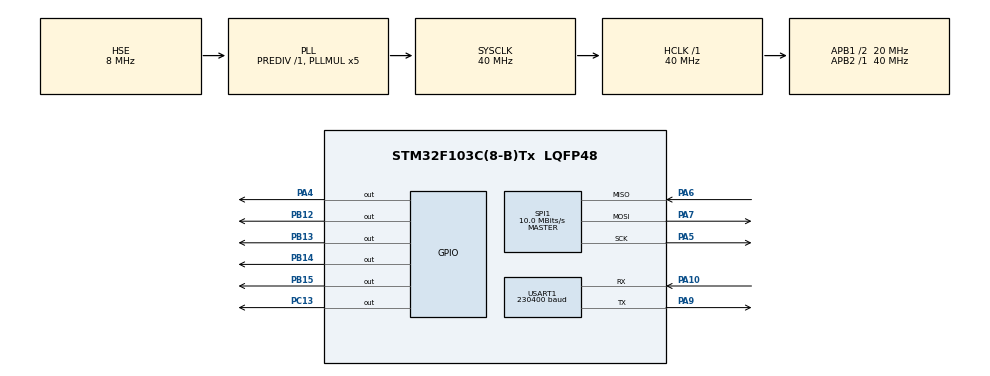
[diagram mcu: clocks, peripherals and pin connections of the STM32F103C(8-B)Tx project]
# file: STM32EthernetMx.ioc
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Mcu.Family=STM32F1
Mcu.Name=STM32F103C(8-B)Tx
Mcu.Package=LQFP48
NVIC.PriorityGroup=NVIC_PRIORITYGROUP_4
NVIC.USART1_IRQn=true\:0\:0\:false\:false\:true\:true\:true
PA10.Mode=Asynchronous
PA10.Signal=USART1_RX
PA13.Mode=Serial_Wire
PA13.Signal=SYS_JTMS-SWDIO
PA14.Mode=Serial_Wire
PA14.Signal=SYS_JTCK-SWCLK
PA4.GPIO_Speed=GPIO_SPEED_FREQ_MEDIUM
PA4.PinState=GPIO_PIN_RESET
PA4.Signal=GPIO_Output
PA5.Mode=Full_Duplex_Master
PA5.Signal=SPI1_SCK
PA6.Mode=Full_Duplex_Master
PA6.Signal=SPI1_MISO
PA7.Mode=Full_Duplex_Master
PA7.Signal=SPI1_MOSI
PA9.Mode=Asynchronous
PA9.Signal=USART1_TX
PB12.GPIO_Speed=GPIO_SPEED_FREQ_MEDIUM
PB12.Signal=GPIO_Output
PB13.GPIO_Speed=GPIO_SPEED_FREQ_MEDIUM
PB13.Signal=GPIO_Output
PB14.GPIO_Speed=GPIO_SPEED_FREQ_MEDIUM
PB14.Signal=GPIO_Output
PB15.GPIO_Speed=GPIO_SPEED_FREQ_MEDIUM
PB15.Signal=GPIO_Output
PC13-TAMPER-RTC.GPIO_Speed=GPIO_SPEED_FREQ_MEDIUM
PC13-TAMPER-RTC.Signal=GPIO_Output
PD0-OSC_IN.Mode=HSE-External-Oscillator
PD0-OSC_IN.Signal=RCC_OSC_IN
PD1-OSC_OUT.Mode=HSE-External-Oscillator
PD1-OSC_OUT.Signal=RCC_OSC_OUT
ProjectManager.HeapSize=0x200
ProjectManager.StackSize=0x400
ProjectManager.TargetToolchain=MDK-ARM V5
RCC.AHBFreq_Value=40000000
RCC.APB1CLKDivider=RCC_HCLK_DIV2
RCC.APB1Freq_Value=20000000
RCC.APB1TimFreq_Value=40000000
RCC.APB2Freq_Value=40000000
RCC.APB2TimFreq_Value=40000000
RCC.HCLKFreq_Value=40000000
RCC.PLLMUL=RCC_PLL_MUL5
RCC.PLLSourceVirtual=RCC_PLLSOURCE_HSE
RCC.SYSCLKFreq_VALUE=40000000
RCC.SYSCLKSource=RCC_SYSCLKSOURCE_PLLCLK
RCC.USBFreq_Value=40000000
SPI1.BaudRatePrescaler=SPI_BAUDRATEPRESCALER_4
SPI1.CalculateBaudRate=10.0 MBits/s
SPI1.DataSize=SPI_DATASIZE_8BIT
SPI1.Direction=SPI_DIRECTION_2LINES
SPI1.Mode=SPI_MODE_MASTER
SPI1.VirtualType=VM_MASTER
USART1.BaudRate=230400
USART1.VirtualMode=VM_ASYNC
board=custom

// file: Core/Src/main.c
/* USER CODE BEGIN Header */
/**
  ******************************************************************************
  * @file           : main.c
  * @brief          : Main program body
  ******************************************************************************
  * @attention
  *
  * <h2><center>&copy; Copyright (c) 2021 STMicroelectronics.
  * All rights reserved.</center></h2>
  *
  * This software component is licensed by ST under BSD 3-Clause license,
  * the "License"; You may not use this file except in compliance with the
  * License. You may obtain a copy of the License at:
  *                        opensource.org/licenses/BSD-3-Clause
  *
  ******************************************************************************
  */
/* USER CODE END Header */
#include "main.h"
#include "spi.h"
#include "usart.h"
#include "gpio.h"

/* USER CODE BEGIN Includes */
#include "net.h"
#include "enc28j60.h"
/* USER CODE END Includes */

/* USER CODE BEGIN PV */
extern SPI_HandleTypeDef hspi1;

extern UART_HandleTypeDef huart1;

int phases[8][4] = {
  { GPIO_PIN_RESET,  GPIO_PIN_RESET,  GPIO_PIN_RESET,  GPIO_PIN_SET },
  { GPIO_PIN_RESET,  GPIO_PIN_RESET,  GPIO_PIN_SET, GPIO_PIN_SET },
  { GPIO_PIN_RESET,  GPIO_PIN_RESET,  GPIO_PIN_SET, GPIO_PIN_RESET },
  { GPIO_PIN_RESET,  GPIO_PIN_SET, GPIO_PIN_SET, GPIO_PIN_RESET },
  { GPIO_PIN_RESET,  GPIO_PIN_SET, GPIO_PIN_RESET,  GPIO_PIN_RESET },
  { GPIO_PIN_SET, GPIO_PIN_SET, GPIO_PIN_RESET,  GPIO_PIN_RESET },
  { GPIO_PIN_SET, GPIO_PIN_RESET,  GPIO_PIN_RESET,  GPIO_PIN_RESET },
  { GPIO_PIN_SET, GPIO_PIN_RESET,  GPIO_PIN_RESET,  GPIO_PIN_SET }
};

int dir = 1;

extern int rotate;

/* USER CODE END PV */

void SystemClock_Config(void);
/* USER CODE BEGIN PFP */
int get_speed(int number_of_steps, int speed_value)
{
  return 60L * 1000L * 1000L / number_of_steps / speed_value;
}

void stepper_step(int step_value)
{
  HAL_GPIO_WritePin(GPIOB, GPIO_PIN_15, phases[step_value][0]);
  HAL_GPIO_WritePin(GPIOB, GPIO_PIN_14, phases[step_value][1]);
  HAL_GPIO_WritePin(GPIOB, GPIO_PIN_13, phases[step_value][2]);
  HAL_GPIO_WritePin(GPIOB, GPIO_PIN_12, phases[step_value][3]);
}

void delay_ticks(unsigned int count)
{
    for (unsigned int i = count; i > 0; --i)
        __asm("");
}

void rotate_90(int dir)
{
  long long speed_value = get_speed(1024, 4);

  int step_value = 0;

  for (int i = 1024; i > 0; i--)
  {
    stepper_step(dir > 0 ? step_value : (8 - step_value) % 8);
    delay_ticks(speed_value / 2);

    step_value = (step_value + 1) % 8;
  }
}
/* USER CODE END PFP */

int main(void)
{

  /* MCU Configuration--------------------------------------------------------*/

  /* Reset of all peripherals, Initializes the Flash interface and the Systick. */
  HAL_Init();

  /* Configure the system clock */
  SystemClock_Config();

  /* Initialize all configured peripherals */
  MX_GPIO_Init();
  MX_SPI1_Init();
  MX_USART1_UART_Init();
  /* USER CODE BEGIN 2 */
  net_ini();
  /* USER CODE END 2 */

  /* Infinite loop */
  /* USER CODE BEGIN WHILE */
  while (1)
  {
	LD_OFF;
    /* USER CODE END WHILE */

    /* USER CODE BEGIN 3 */
	net_poll();

	if (rotate)
	{
		rotate_90(dir);

    if (dir > 0)
      dir = -1;
    else
      dir = 1;

	rotate = 0;
	}
  }
  /* USER CODE END 3 */
}

void SystemClock_Config(void)
{
  RCC_OscInitTypeDef RCC_OscInitStruct = {0};
  RCC_ClkInitTypeDef RCC_ClkInitStruct = {0};

  /** Initializes the RCC Oscillators according to the specified parameters
  * in the RCC_OscInitTypeDef structure.
  */
  RCC_OscInitStruct.OscillatorType = RCC_OSCILLATORTYPE_HSE;
  RCC_OscInitStruct.HSEState = RCC_HSE_ON;
  RCC_OscInitStruct.HSEPredivValue = RCC_HSE_PREDIV_DIV1;
  RCC_OscInitStruct.HSIState = RCC_HSI_ON;
  RCC_OscInitStruct.PLL.PLLState = RCC_PLL_ON;
  RCC_OscInitStruct.PLL.PLLSource = RCC_PLLSOURCE_HSE;
  RCC_OscInitStruct.PLL.PLLMUL = RCC_PLL_MUL5;
  if (HAL_RCC_OscConfig(&RCC_OscInitStruct) != HAL_OK)
  {
    Error_Handler();
  }
  /** Initializes the CPU, AHB and APB buses clocks
  */
  RCC_ClkInitStruct.ClockType = RCC_CLOCKTYPE_HCLK|RCC_CLOCKTYPE_SYSCLK
                              |RCC_CLOCKTYPE_PCLK1|RCC_CLOCKTYPE_PCLK2;
  RCC_ClkInitStruct.SYSCLKSource = RCC_SYSCLKSOURCE_PLLCLK;
  RCC_ClkInitStruct.AHBCLKDivider = RCC_SYSCLK_DIV1;
  RCC_ClkInitStruct.APB1CLKDivider = RCC_HCLK_DIV2;
  RCC_ClkInitStruct.APB2CLKDivider = RCC_HCLK_DIV1;

  if (HAL_RCC_ClockConfig(&RCC_ClkInitStruct, FLASH_LATENCY_1) != HAL_OK)
  {
    Error_Handler();
  }
}

void Error_Handler(void)
{
  __disable_irq();
  while (1)
  {
  }
}

/************************ (C) COPYRIGHT STMicroelectronics *****END OF FILE****/
